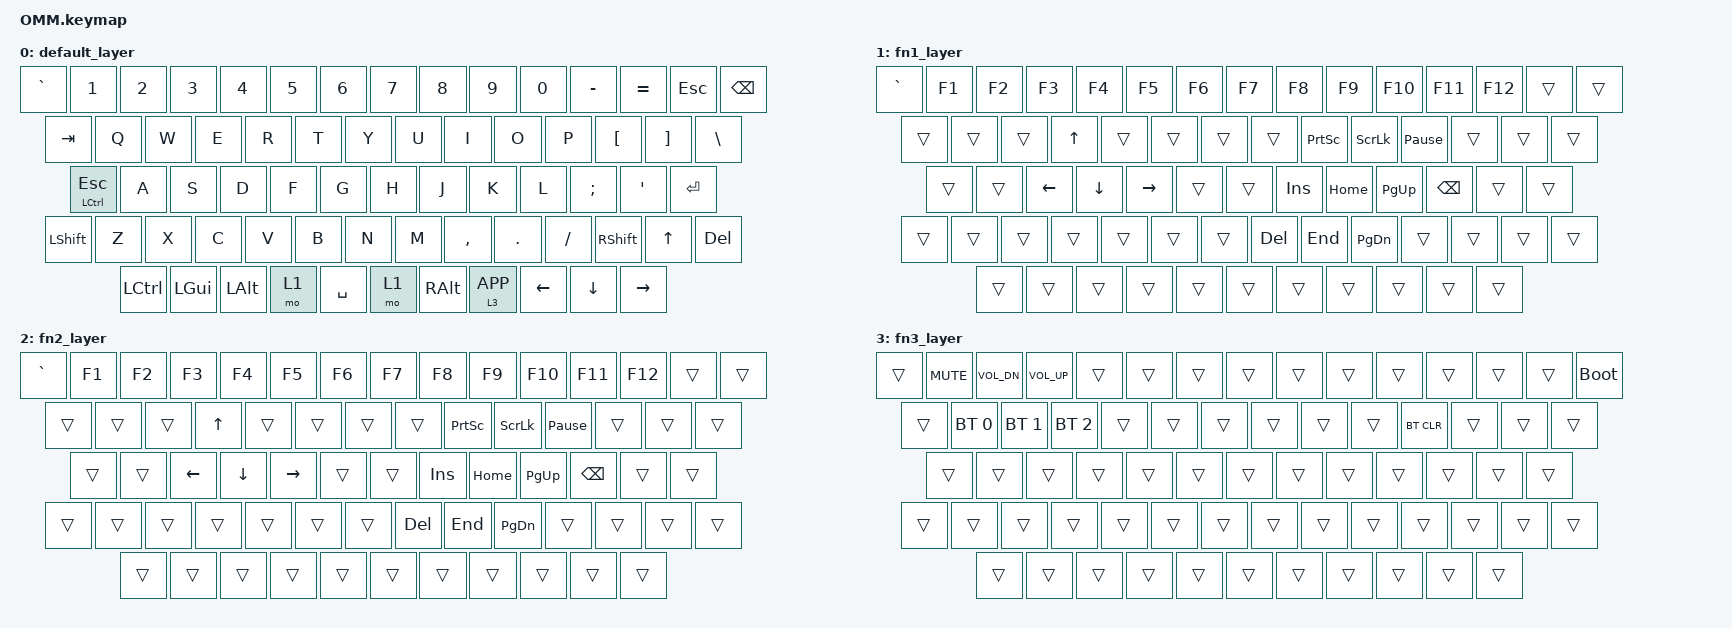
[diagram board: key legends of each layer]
#include <behaviors.dtsi>
#include <dt-bindings/zmk/keys.h>
#include <dt-bindings/zmk/bt.h>

&lt {
    tapping-term-ms = <200>;
};

&mt {
    tapping-term-ms = <400>;
};

/ {
    keymap0: keymap {
        compatible = "zmk,keymap";

        default_layer {
// ,-----------------------------------------------------------------.
// |Esc|  1|  2|  3|  4|  5|  6|  7 |  8 |  9|  0|  - |  = | `  |Bac |
// |-----------------------------------------------------------------|
// |Tab  |  Q|  W|  E|  R|  T|  Y|  U |  I |  O |  P |  [ |  ] |  \  |
// |-----------------------------------------------------------------|
// |CAPS |  A |  S |  D |  F |  G |  H |  J|  K|  L| ; |  '| Enter   |
// |-----------------------------------------------------------------|
// |Shift   |  Z|  X|  C|  V|  B|  N|  M|  ,|  .|  /|Shift | UP | DEL|
// `-----------------------------------------------------------------'
// | CTRL| GUI | ALT| FN1 |Space       | FN1 | ALT | LFT | DWN | RGHT|
//       `------------------------------------------------------'
            bindings = <
    &kp GRAVE &kp N1 &kp N2 &kp N3 &kp N4 &kp N5 &kp N6 &kp N7 &kp N8 &kp N9 &kp N0 &kp MINUS &kp EQUAL &kp ESC &kp BSPC
    &kp TAB &kp Q &kp W &kp E &kp R &kp T &kp Y &kp U &kp I &kp O &kp P &kp LBKT &kp RBKT &kp BSLH
    &mt LCTRL ESC &kp A &kp S &kp D &kp F &kp G &kp H &kp J &kp K &kp L &kp SEMI &kp SQT &kp RET
    &kp LSHFT &kp Z &kp X &kp C &kp V &kp B &kp N &kp M &kp COMMA &kp DOT &kp FSLH &kp RSHFT &kp UP &kp DEL
    &kp LCTRL &kp LGUI &kp LALT &mo 1 &kp SPACE &mo 1 &kp RALT &lt 3 K_APP &kp LEFT &kp DOWN &kp RIGHT
            >;
        };

        fn1_layer {
            bindings = <
    &kp GRAVE &kp F1 &kp F2 &kp F3 &kp F4 &kp F5 &kp F6 &kp F7 &kp F8 &kp F9 &kp F10 &kp F11 &kp F12 &trans &trans
    &trans &trans &trans &kp UP &trans &trans &trans &trans &kp PSCRN &kp SLCK  &kp PAUSE_BREAK &trans &trans &trans
    &trans &trans &kp LEFT &kp DOWN &kp RIGHT &trans &trans &kp INS &kp HOME &kp PG_UP &kp BSPC &trans &trans
    &trans &trans &trans &trans &trans &trans &trans &kp DEL &kp END &kp PG_DN &trans &trans &trans &trans 
    &trans &trans &trans &trans &trans &trans &trans &trans &trans &trans &trans 
            >;
        };

        fn2_layer {
            bindings = <
    &kp GRAVE &kp F1 &kp F2 &kp F3 &kp F4 &kp F5 &kp F6 &kp F7 &kp F8 &kp F9 &kp F10 &kp F11 &kp F12 &trans &trans
    &trans &trans &trans &kp UP &trans &trans &trans &trans &kp PSCRN &kp SLCK  &kp PAUSE_BREAK &trans &trans &trans
    &trans &trans &kp LEFT &kp DOWN &kp RIGHT &trans &trans &kp INS &kp HOME &kp PG_UP &kp BSPC &trans &trans
    &trans &trans &trans &trans &trans &trans &trans &kp DEL &kp END &kp PG_DN &trans &trans &trans &trans 
    &trans &trans &trans &trans &trans &trans &trans &trans &trans &trans &trans 
            >;
        };

        fn3_layer {
            bindings = <
    &trans &kp C_MUTE &kp C_VOL_DN &kp C_VOL_UP &trans &trans &trans &trans &trans &trans &trans &trans &trans &trans &bootloader
    &trans &bt BT_SEL 0 &bt BT_SEL 1 &bt BT_SEL 2 &trans &trans &trans &trans &trans &trans &bt BT_CLR  &trans &trans &trans
    &trans &trans &trans &trans &trans &trans &trans &trans &trans &trans &trans &trans &trans
    &trans &trans &trans &trans &trans &trans &trans &trans &trans &trans &trans &trans &trans &trans 
    &trans &trans &trans &trans &trans &trans &trans &trans &trans &trans &trans 
            >;
        };
    };
};
